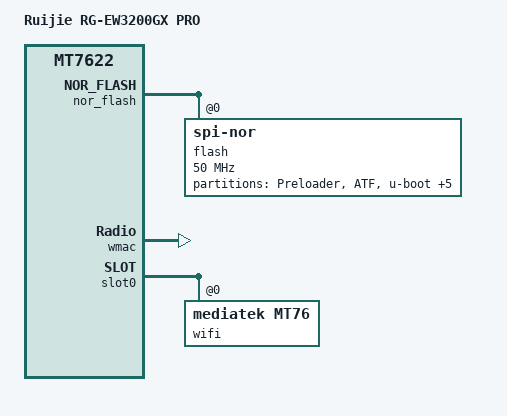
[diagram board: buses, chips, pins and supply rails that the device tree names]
// SPDX-License-Identifier: GPL-2.0-or-later OR MIT

/dts-v1/;
#include "mt7622-ruijie-rg-ew3200.dtsi"

/ {
	model = "Ruijie RG-EW3200GX PRO";
	compatible = "ruijie,rg-ew3200gx-pro", "mediatek,mt7622";
};

&nor_flash {
	status = "okay";

	pinctrl-names = "default";
	pinctrl-0 = <&spi_nor_pins>;

	flash@0 {
		compatible = "jedec,spi-nor";
		reg = <0>;
		spi-max-frequency = <50000000>;

		partitions {
			compatible = "fixed-partitions";
			#address-cells = <1>;
			#size-cells = <1>;

			partition@00000 {
				label = "Preloader";
				reg = <0x00 0x20000>;
			};

			partition@40000 {
				label = "ATF";
				reg = <0x20000 0x10000>;
			};

			partition@60000 {
				label = "u-boot";
				reg = <0x30000 0x50000>;
			};

			partition@B0000 {
				label = "u-boot-env";
				reg = <0x80000 0x10000>;
			};

			partition@D0000 {
				label = "Factory";
				reg = <0x90000 0x40000>;
			};

			partition@150000 {
				label = "product_info";
				reg = <0xd0000 0x10000>;
			};

			partition@160000 {
				label = "kdump";
				reg = <0xe0000 0x10000>;
			};

			partition@170000 {
				label = "firmware";
				reg = <0xf0000 0xf10000>;
			};
		};
	};
};

&wmac {
	status = "okay";

	pinctrl-names = "default";
	pinctrl-0 = <&epa_elna_pins>;
	mediatek,mtd-eeprom = <&factory 0x0>;
};

&slot0 {
	wifi@0,0 {
		compatible = "mediatek,mt76";
		reg = <0x0000 0 0 0 0>;
		mediatek,mtd-eeprom = <&factory 0x5000>;
		ieee80211-freq-limit = <5000000 6000000>;
		mediatek,disable-radar-background;
	};
};
